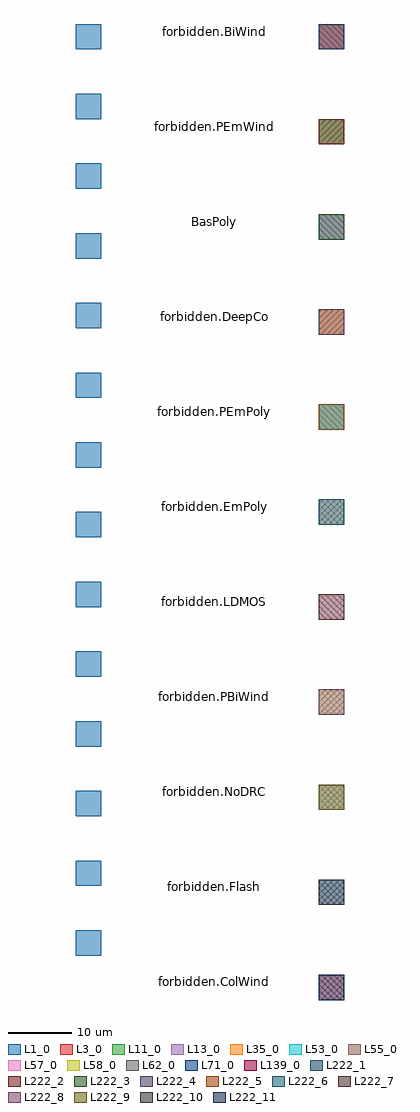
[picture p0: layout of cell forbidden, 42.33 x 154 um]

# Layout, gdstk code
import gdstk
lib = gdstk.Library(unit=1e-6, precision=1e-09)
def R(c, l, rs):  # rectangles x0, y0, x1, y1
    for r in rs: c.add(gdstk.rectangle(r[:2], r[2:], *l))
def A(c, l, x, y, w, h, nx, ny, dx, dy):  # array of equal rectangles
    R(c, l, [(x+i*dx, y+j*dy, x+i*dx+w, y+j*dy+h) for i in range(nx) for j in range(ny)])
L1_0 = (1, 0)
L3_0 = (3, 0)
L11_0 = (11, 0)
L13_0 = (13, 0)
L35_0 = (35, 0)
L53_0 = (53, 0)
L55_0 = (55, 0)
L57_0 = (57, 0)
L58_0 = (58, 0)
L62_0 = (62, 0)
L71_0 = (71, 0)
L139_0 = (139, 0)
L222_1 = (222, 1)
L222_2 = (222, 2)
L222_3 = (222, 3)
L222_4 = (222, 4)
L222_5 = (222, 5)
L222_6 = (222, 6)
L222_7 = (222, 7)
L222_8 = (222, 8)
L222_9 = (222, 9)
L222_10 = (222, 10)
L222_11 = (222, 11)

forbidden = lib.new_cell('forbidden')
A(forbidden, L1_0, -21.83, -153.09, 3.995, 4.01, 1, 14, 0, 11)
R(forbidden, L3_0, [(16.497,-10.085,20.497,-6.085)])
R(forbidden, L11_0, [(16.497,-25.085,20.497,-21.085)])
R(forbidden, L13_0, [(16.497,-40.085,20.497,-36.085)])
R(forbidden, L35_0, [(16.497,-55.085,20.497,-51.085)])
R(forbidden, L53_0, [(16.497,-70.085,20.497,-66.085)])
R(forbidden, L55_0, [(16.497,-85.085,20.497,-81.085)])
R(forbidden, L57_0, [(16.497,-100.085,20.497,-96.085)])
R(forbidden, L58_0, [(16.497,-115.085,20.497,-111.085)])
R(forbidden, L62_0, [(16.497,-130.085,20.497,-126.085)])
R(forbidden, L71_0, [(16.497,-145.085,20.497,-141.085)])
R(forbidden, L139_0, [(16.497,-160.085,20.497,-156.085)])
R(forbidden, L222_1, [(16.497,-10.085,20.497,-6.085)])
R(forbidden, L222_2, [(16.497,-25.085,20.497,-21.085)])
R(forbidden, L222_3, [(16.497,-40.085,20.497,-36.085)])
R(forbidden, L222_4, [(16.497,-55.085,20.497,-51.085)])
R(forbidden, L222_5, [(16.497,-70.085,20.497,-66.085)])
R(forbidden, L222_6, [(16.497,-85.085,20.497,-81.085)])
R(forbidden, L222_7, [(16.497,-100.085,20.497,-96.085)])
R(forbidden, L222_8, [(16.497,-115.085,20.497,-111.085)])
R(forbidden, L222_9, [(16.497,-130.085,20.497,-126.085)])
R(forbidden, L222_10, [(16.497,-145.085,20.497,-141.085)])
R(forbidden, L222_11, [(16.497,-160.085,20.497,-156.085)])
forbidden.add(gdstk.Label('3.2 Forbidden Layers', (0,21), layer=63, texttype=0))
forbidden.add(gdstk.Label('forbidden.BiWind', (0,-7.23), layer=63, texttype=0))
forbidden.add(gdstk.Label('forbidden.PEmWind', (0,-22.23), layer=63, texttype=0))
forbidden.add(gdstk.Label('BasPoly', (0,-37.23), layer=63, texttype=0))
forbidden.add(gdstk.Label('forbidden.DeepCo', (0,-52.23), layer=63, texttype=0))
forbidden.add(gdstk.Label('forbidden.PEmPoly', (0,-67.23), layer=63, texttype=0))
forbidden.add(gdstk.Label('forbidden.EmPoly', (0,-82.23), layer=63, texttype=0))
forbidden.add(gdstk.Label('forbidden.LDMOS', (0,-97.23), layer=63, texttype=0))
forbidden.add(gdstk.Label('forbidden.PBiWind', (0,-112.23), layer=63, texttype=0))
forbidden.add(gdstk.Label('forbidden.NoDRC', (0,-127.23), layer=63, texttype=0))
forbidden.add(gdstk.Label('forbidden.Flash', (0,-142.23), layer=63, texttype=0))
forbidden.add(gdstk.Label('forbidden.ColWind', (0,-157.23), layer=63, texttype=0))
forbidden.add(gdstk.Label('FAIL', (12,5), layer=63, texttype=0))
forbidden.add(gdstk.Label('PASS', (-12,5), layer=63, texttype=0))

lib.write_gds('forbidden.gds')
